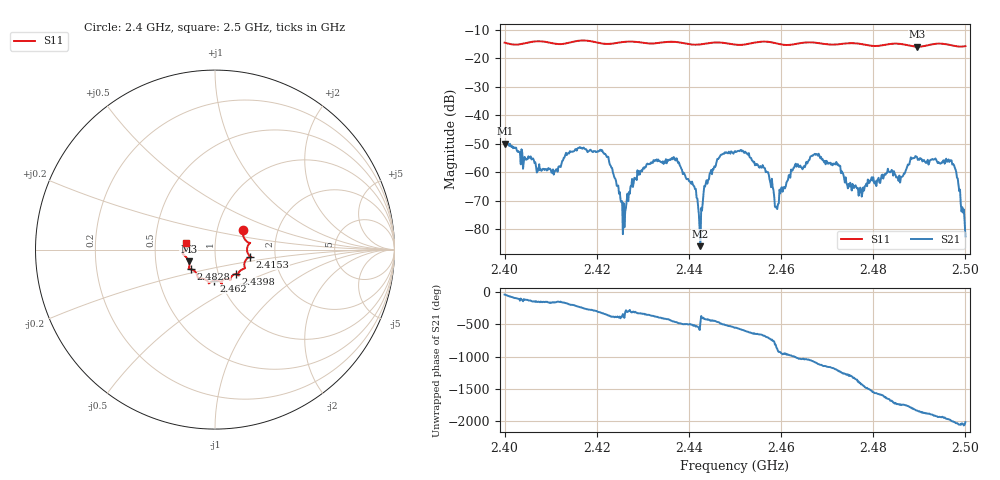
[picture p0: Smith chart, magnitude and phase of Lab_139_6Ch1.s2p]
# Hz S RI R 50
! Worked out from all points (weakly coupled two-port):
!   601 points, 2.4 GHz to 2.5 GHz, reference 50 ohm
!   highest |S21| = -49.91 dB at 2.4002 GHz (marker M1); lowest = -85.9 dB at 2.4425 GHz (marker M2)
!   lowest |S11| = -15.9 dB at 2.4895 GHz (marker M3), VSWR 1.38, Z = 37 - j5 ohm
!   |S11| at or under -10 dB: start of sweep to end of sweep
!   S12 and S22 are empty: the file has one direction only
!   S11 on the Smith chart (normalised r, x): 2.4 GHz: 1.33, +0.30; 2.4153 GHz: 1.48, -0.12; 2.4398 GHz: 1.21, -0.34; 2.462 GHz: 0.93, -0.33; 2.4828 GHz: 0.74, -0.17; 2.5 GHz: 0.72, +0.06
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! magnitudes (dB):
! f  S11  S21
! 2.4 GHz  -14.5  -50.3
! 2.4002 GHz  -14.6  -49.9
! 2.4105 GHz  -14.7  -59.0
! 2.4153 GHz  -14.0  -51.9
! 2.4167 GHz  -13.7  -51.4
! 2.422 GHz  -14.9  -53.9
! 2.4258 GHz  -14.2  -70.8
! 2.4333 GHz  -14.6  -55.5
! 2.4398 GHz  -15.0  -62.3
! 2.4425 GHz  -15.1  -85.9
! 2.4465 GHz  -14.4  -55.0
! 2.45 GHz  -15.1  -52.5
! 2.4565 GHz  -14.1  -58.6
! 2.459 GHz  -14.7  -72.1
! 2.462 GHz  -15.2  -61.9
! 2.4667 GHz  -14.4  -54.2
! 2.4772 GHz  -14.9  -65.4
! 2.4828 GHz  -15.1  -60.2
! 2.4833 GHz  -15.0  -59.8
! 2.4895 GHz  -15.9  -54.6
! 2.4972 GHz  -15.5  -57.3
! 2.5 GHz  -15.7  -82.5
